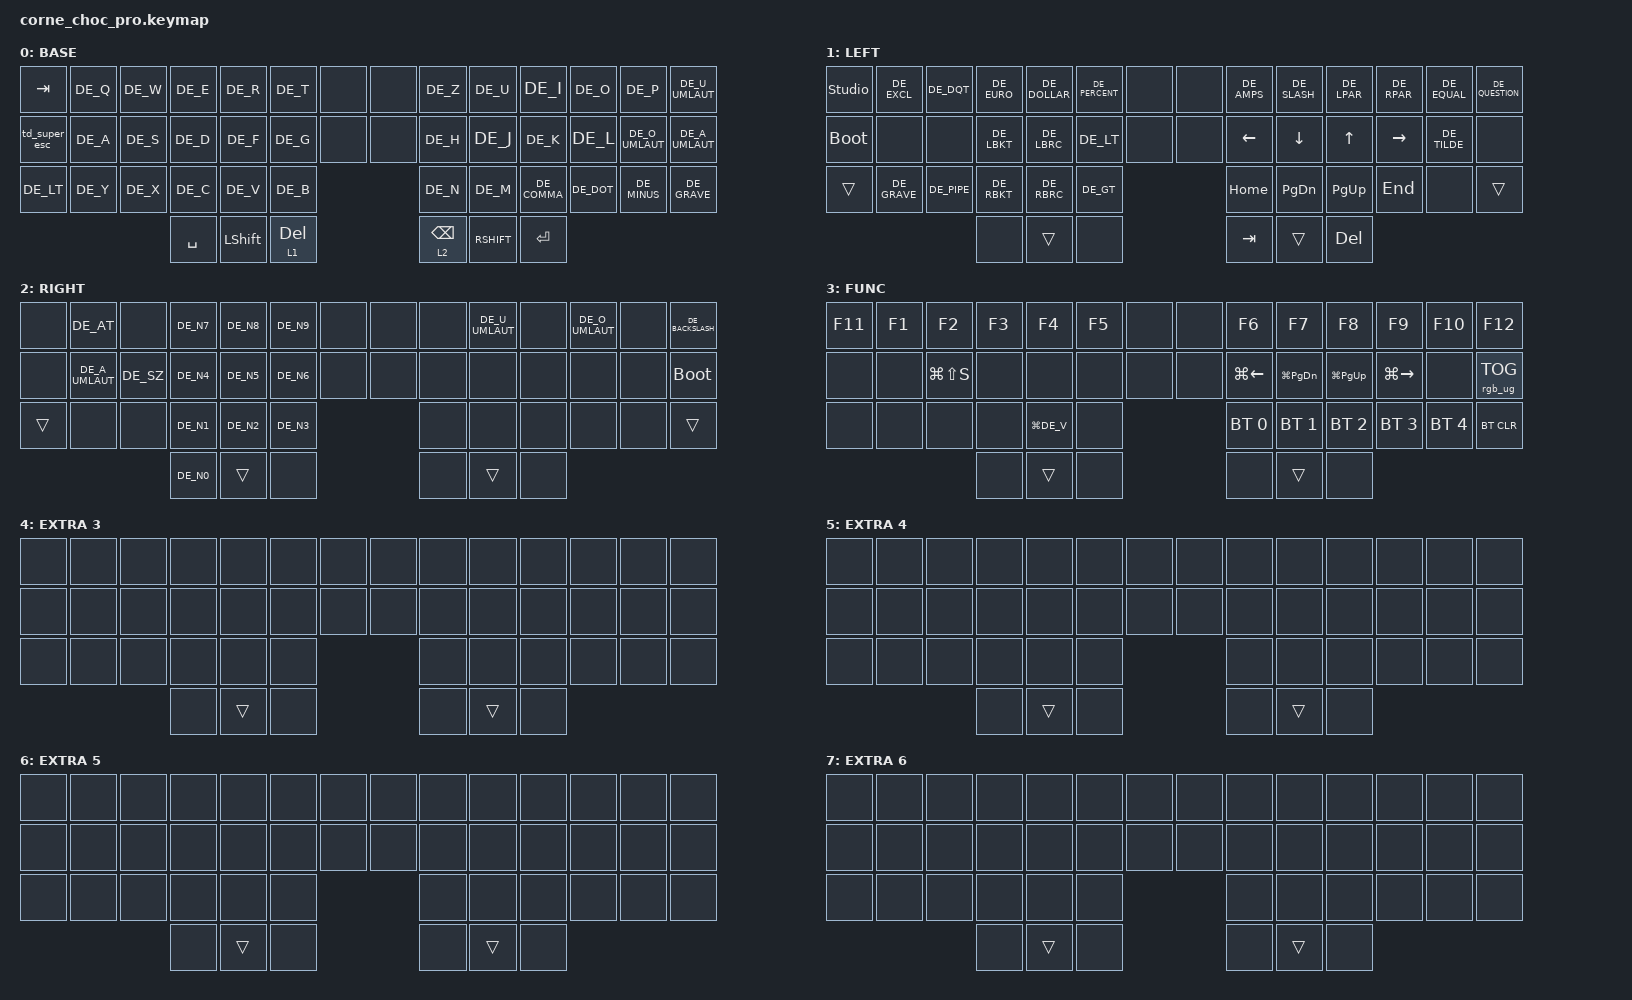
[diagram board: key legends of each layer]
/*
 * Copyright (c) 2020 The ZMK Contributors
 *
 * SPDX-License-Identifier: MIT
 */

#include <behaviors.dtsi>
#include <dt-bindings/zmk/keys.h>
#include <dt-bindings/zmk/bt.h>
#include <dt-bindings/zmk/rgb.h>

#include <locale/keys_de.h>

/ {
    chosen {
        zmk,physical-layout = &default_layout;
    };
};

/ {
    combos {
        compatible = "zmk,combos";

        combo_gui {
            bindings = <&kp LEFT_GUI>;
            key-positions = <40 42>;
            layers = <0>;
        };
    };

    conditonal_layers {
        compatible = "zmk,conditional-layers";
        
        tri_layer {
          if-layers = <1 2>;
          then-layer = <3>;
        };
    };

    macros {
        super_esc: super_esc {
            compatible = "zmk,behavior-macro";
            #binding-cells = <0>;
            bindings = <&kp ESC &kp DE_COLON &kp DE_W &kp DE_A &kp ENTER>;
            label = "SUPER_ESC";
        };
    };

    behaviors {
        td_super_esc: tap_dance_0 {
            compatible = "zmk,behavior-tap-dance";
            #binding-cells = <0>;
            tapping-term-ms = <180>;
            bindings = <&kp ESC>, <&super_esc>;
        };
    };

    keymap {
        compatible = "zmk,keymap";

        default_layer {
            display-name = "BASE";
            bindings = <
                &kp TAB       &kp DE_Q &kp DE_W &kp DE_E  &kp DE_R   &kp DE_T  /**/ &none /* ----- */ &none /**/ &kp DE_Z   &kp DE_U  &kp DE_I     &kp DE_O   &kp DE_P        &kp DE_U_UMLAUT
                &td_super_esc &kp DE_A &kp DE_S &kp DE_D  &kp DE_F   &kp DE_G  /**/ &none /* ----- */ &none /**/ &kp DE_H   &kp DE_J  &kp DE_K     &kp DE_L   &kp DE_O_UMLAUT &kp DE_A_UMLAUT
                &kp DE_LT     &kp DE_Y &kp DE_X &kp DE_C  &kp DE_V   &kp DE_B  /**/       /* ----- */       /**/ &kp DE_N   &kp DE_M  &kp DE_COMMA &kp DE_DOT &kp DE_MINUS    &kp DE_GRAVE
                                                &kp SPACE &kp LSHIFT &lt 1 DEL /**/       /* ----- */       /**/ &lt 2 BSPC &RSHIFT   &kp ENTER
            >;
        };

        left_layer {
            display-name = "LEFT";
            bindings = <
                &studio_unlock &kp DE_EXCL  &kp DE_DQT  &kp DE_EURO &kp DE_DOLLAR &kp DE_PERCENT /**/ &none /* ----- */ &none /**/ &kp DE_AMPS &kp DE_SLASH &kp DE_LPAR &kp DE_RPAR &kp DE_EQUAL &kp DE_QUESTION
                &bootloader    &none        &none       &kp DE_LBKT &kp DE_LBRC   &kp DE_LT      /**/ &none /* ----- */ &none /**/ &kp LEFT    &kp DOWN     &kp UP      &kp RIGHT   &kp DE_TILDE &none
                &trans         &kp DE_GRAVE &kp DE_PIPE &kp DE_RBKT &kp DE_RBRC   &kp DE_GT      /**/       /* ----- */       /**/ &kp HOME    &kp PG_DN    &kp PG_UP   &kp END     &none        &trans
                                                        &none       &trans        &none          /**/       /* ----- */       /**/ &kp TAB     &trans       &kp DELETE
            >;
        };

        right_layer {
            display-name = "RIGHT";
            bindings = <
                &none  &kp DE_AT       &none     &kp DE_N7 &kp DE_N8 &kp DE_N9 /**/ &none /* ----- */ &none /**/ &none &kp DE_U_UMLAUT &none  &kp DE_O_UMLAUT &none &kp DE_BACKSLASH
                &none  &kp DE_A_UMLAUT &kp DE_SZ &kp DE_N4 &kp DE_N5 &kp DE_N6 /**/ &none /* ----- */ &none /**/ &none &none           &none  &none           &none &bootloader
                &trans &none           &none     &kp DE_N1 &kp DE_N2 &kp DE_N3 /**/       /* ----- */       /**/ &none &none           &none  &none           &none &trans
                                                 &kp DE_N0 &trans    &none     /**/       /* ----- */       /**/ &none &trans          &none
            >;
        };

        func_layer {
            display-name = "FUNC";
            bindings = <
                &kp F11 &kp F1 &kp F2        &kp F3 &kp F4       &kp F5 /**/ &none /* ----- */ &none /**/ &kp F6       &kp F7        &kp F8        &kp F9        &kp F10      &kp F12
                &none   &none  &kp LG(LS(S)) &none  &none        &none  /**/ &none /* ----- */ &none /**/ &kp LG(LEFT) &kp LG(PG_DN) &kp LG(PG_UP) &kp LG(RIGHT) &none        &rgb_ug RGB_TOG
                &none   &none  &none         &none  &kp LG(DE_V) &none  /**/       /* ----- */       /**/ &bt BT_SEL 0 &bt BT_SEL 1  &bt BT_SEL 2  &bt BT_SEL 3  &bt BT_SEL 4 &bt BT_CLR
                                             &none  &trans       &none  /**/       /* ----- */       /**/ &none        &trans        &none
            >;
        };

        extra_layer_3 {
            display-name = "EXTRA 3";
            bindings = <
                &none &none &none &none &none  &none /**/ &none /* ----- */ &none /**/ &none &none  &none &none &none &none
                &none &none &none &none &none  &none /**/ &none /* ----- */ &none /**/ &none &none  &none &none &none &none
                &none &none &none &none &none  &none /**/       /* ----- */       /**/ &none &none  &none &none &none &none
                                  &none &trans &none /**/       /* ----- */       /**/ &none &trans &none
            >;
        };

        extra_layer_4 {
            display-name = "EXTRA 4";
            bindings = <
                &none &none &none &none &none  &none /**/ &none /* ----- */ &none /**/ &none &none  &none &none &none &none
                &none &none &none &none &none  &none /**/ &none /* ----- */ &none /**/ &none &none  &none &none &none &none
                &none &none &none &none &none  &none /**/       /* ----- */       /**/ &none &none  &none &none &none &none
                                  &none &trans &none /**/       /* ----- */       /**/ &none &trans &none
            >;
        };

        extra_layer_5 {
            display-name = "EXTRA 5";
            bindings = <
                &none &none &none &none &none  &none /**/ &none /* ----- */ &none /**/ &none &none  &none &none &none &none
                &none &none &none &none &none  &none /**/ &none /* ----- */ &none /**/ &none &none  &none &none &none &none
                &none &none &none &none &none  &none /**/       /* ----- */       /**/ &none &none  &none &none &none &none
                                  &none &trans &none /**/       /* ----- */       /**/ &none &trans &none
            >;
        };

        extra_layer_6 {
            display-name = "EXTRA 6";
            bindings = <
                &none &none &none &none &none  &none /**/ &none /* ----- */ &none /**/ &none &none  &none &none &none &none
                &none &none &none &none &none  &none /**/ &none /* ----- */ &none /**/ &none &none  &none &none &none &none
                &none &none &none &none &none  &none /**/       /* ----- */       /**/ &none &none  &none &none &none &none
                                  &none &trans &none /**/       /* ----- */       /**/ &none &trans &none
            >;
        };
    };
};
